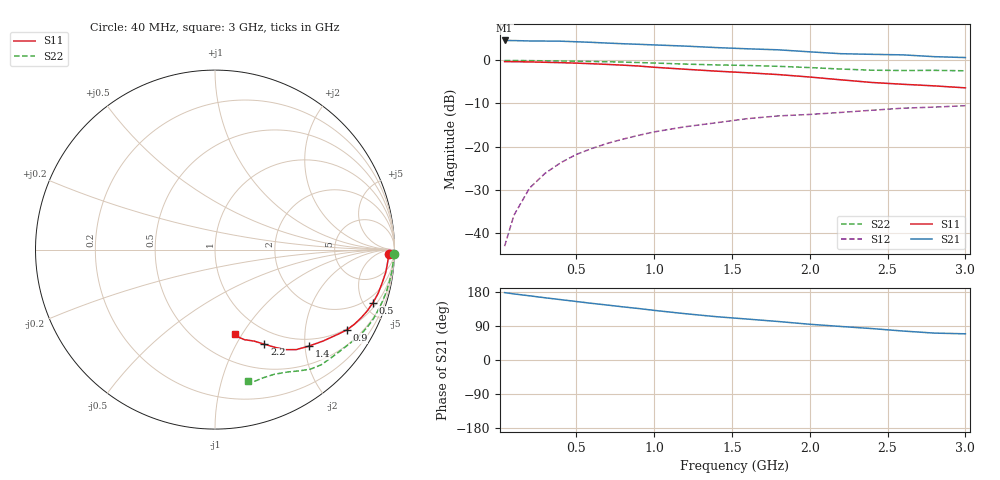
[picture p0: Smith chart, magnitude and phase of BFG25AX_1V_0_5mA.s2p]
! Filename:  BFG25AXC.S2P  Version:  2.0
! Philips part #: BFG25A/X  Date: May 1990
! Bias condition: Vce=1V, Ic=0.5mA
#  MHz  S  MA  R  50
! Freq  S11  S21  S12  S22  !GUM [dB]
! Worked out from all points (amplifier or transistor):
!   21 points, 40 MHz to 3 GHz, reference 50 ohm
!   highest |S21| = 4.6 dB at 40 MHz (marker M1)
!   |S21| within 3 dB of that: start of sweep to 2.167 GHz
!   unconditionally stable (mu >= 1): nowhere
!   at 300 MHz: K = 0.10, MSG = 15.3 dB, |S12| = -26.2 dB
!   at 1 GHz: K = 0.29, MSG = 10.1 dB, |S12| = -16.6 dB
!   at 3 GHz: K = 0.73, MSG = 5.6 dB, |S12| = -10.5 dB
!   lowest NFmin = 1.40 dB at 500 MHz
!   S11 on the Smith chart (normalised r, x): 40 MHz: 37, -29; 500 MHz: 1.36, -5.83; 900 MHz: 0.96, -3.30; 1.4 GHz: 0.85, -2.08; 2.2 GHz: 0.80, -1.31; 3 GHz: 0.76, -0.92
40  0.967 -1.5  1.702 177.8  0.007 85.6  0.997 -1.4
100  0.965 -3.9  1.697 174.4  0.016 86.9  0.996 -3.5
200  0.96 -7.5  1.679 169.4  0.033 84.2  0.993 -6.9
300  0.95 -11.2  1.675 164.2  0.049 81.7  0.988 -10.4
400  0.941 -15.0  1.669 159.3  0.065 79.0  0.983 -13.7
500  0.929 -18.5  1.644 154.4  0.081 76.5  0.977 -17.1
600  0.914 -22.0  1.618 149.5  0.095 74.5  0.97 -20.2
700  0.898 -25.1  1.587 145.0  0.109 72.4  0.964 -23.3
800  0.88 -28.3  1.559 140.2  0.122 70.3  0.955 -26.2
900  0.86 -31.4  1.536 135.9  0.135 68.4  0.944 -29.0
1000  0.832 -34.5  1.511 131.0  0.148 66.1  0.932 -31.8
1200  0.789 -40.2  1.464 122.2  0.17 61.4  0.905 -37.1
1400  0.75 -45.8  1.407 114.3  0.189 58.3  0.886 -42.4
1600  0.718 -50.9  1.362 108.0  0.211 55.8  0.873 -47.3
1800  0.684 -54.6  1.325 101.5  0.227 52.5  0.853 -51.3
2000  0.641 -58.3  1.256 94.3  0.236 49.7  0.825 -54.9
2200  0.595 -62.4  1.195 88.5  0.249 47.1  0.793 -59.3
2400  0.554 -66.9  1.175 82.9  0.264 43.7  0.769 -64.6
2600  0.528 -71.9  1.158 76.4  0.279 40.2  0.763 -69.5
2800  0.506 -74.8  1.104 71.0  0.287 39.0  0.766 -73.1
3000  0.48 -76.9  1.078 69.1  0.298 38.6  0.757 -75.9
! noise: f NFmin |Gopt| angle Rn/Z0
500  1.4  0.89  5  2.8
1000  1.6  0.8  14  3
2000  1.8  0.75  39  2.1
